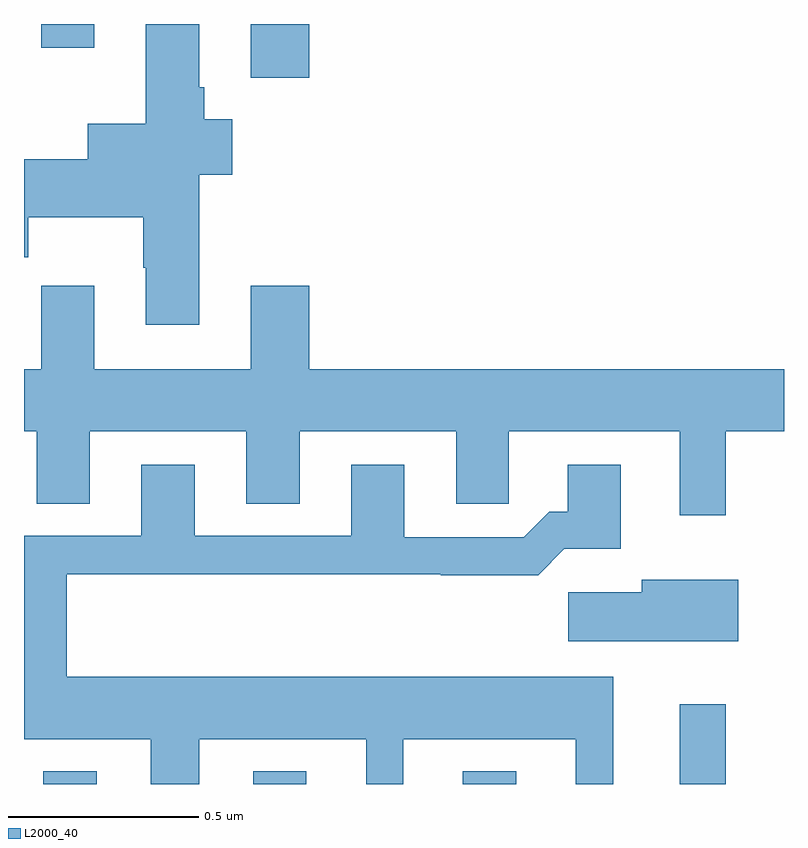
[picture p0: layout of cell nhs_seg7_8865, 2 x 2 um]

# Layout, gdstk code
import gdstk
lib = gdstk.Library(unit=1e-6, precision=1e-09)
def R(c, l, rs):  # rectangles x0, y0, x1, y1
    for r in rs: c.add(gdstk.rectangle(r[:2], r[2:], *l))
def A(c, l, x, y, w, h, nx, ny, dx, dy):  # array of equal rectangles
    R(c, l, [(x+i*dx, y+j*dy, x+i*dx+w, y+j*dy+h) for i in range(nx) for j in range(ny)])
def P(c, l, *ps):  # polygons
    for p in ps: c.add(gdstk.Polygon(p, *l))
L2000_40 = (2000, 40)

nhs_seg7_8865 = lib.new_cell('nhs_seg7_8865')
A(nhs_seg7_8865, L2000_40, 230.051, 1021, 0.14, 0.033, 3, 1, 0.552, 0)
R(nhs_seg7_8865, L2000_40, [(231.725,1021,231.847,1021.21), (230.597,1022.859,230.75,1023), (230.046,1022.937,230.185,1023)])
P(nhs_seg7_8865, L2000_40, [(230.461,1022.603),(230.548,1022.603),(230.548,1022.75),(230.474,1022.75),(230.474,1022.833),(230.461,1022.833),(230.461,1023),(230.321,1023),(230.321,1022.737),(230.168,1022.737),(230.168,1022.644),(230,1022.644),(230,1022.386),(230.011,1022.386),(230.011,1022.492),(230.314,1022.492),(230.314,1022.358),(230.321,1022.358),(230.321,1022.208),(230.461,1022.208)],
  [(231.847,1021.928),(232,1021.928),(232,1022.092),(230.75,1022.092),(230.75,1022.311),(230.597,1022.311),(230.597,1022.092),(230.185,1022.092),(230.185,1022.311),(230.045,1022.311),(230.045,1022.092),(230,1022.092),(230,1021.928),(230.033,1021.928),(230.033,1021.738),(230.173,1021.738),(230.173,1021.928),(230.585,1021.928),(230.585,1021.738),(230.725,1021.738),(230.725,1021.928),(231.137,1021.928),(231.137,1021.738),(231.276,1021.738),(231.276,1021.928),(231.725,1021.928),(231.725,1021.707),(231.847,1021.707)],
  [(230.461,1021.118),(230.9,1021.118),(230.9,1021),(230.998,1021),(230.998,1021.118),(231.452,1021.118),(231.452,1021),(231.55,1021),(231.55,1021.282),(230.113,1021.282),(230.113,1021.552),(231.097,1021.552),(231.097,1021.55),(231.353,1021.55),(231.422,1021.619),(231.571,1021.619),(231.571,1021.84),(231.431,1021.84),(231.431,1021.717),(231.382,1021.717),(231.315,1021.65),(231.001,1021.65),(231.001,1021.84),(230.861,1021.84),(230.861,1021.653),(230.449,1021.653),(230.449,1021.84),(230.309,1021.84),(230.309,1021.653),(230,1021.653),(230,1021.118),(230.333,1021.118),(230.333,1021),(230.461,1021)],
  [(231.88,1021.537),(231.626,1021.537),(231.626,1021.505),(231.432,1021.505),(231.432,1021.376),(231.88,1021.376)])

lib.write_gds('nhs_seg7_8865.gds')
